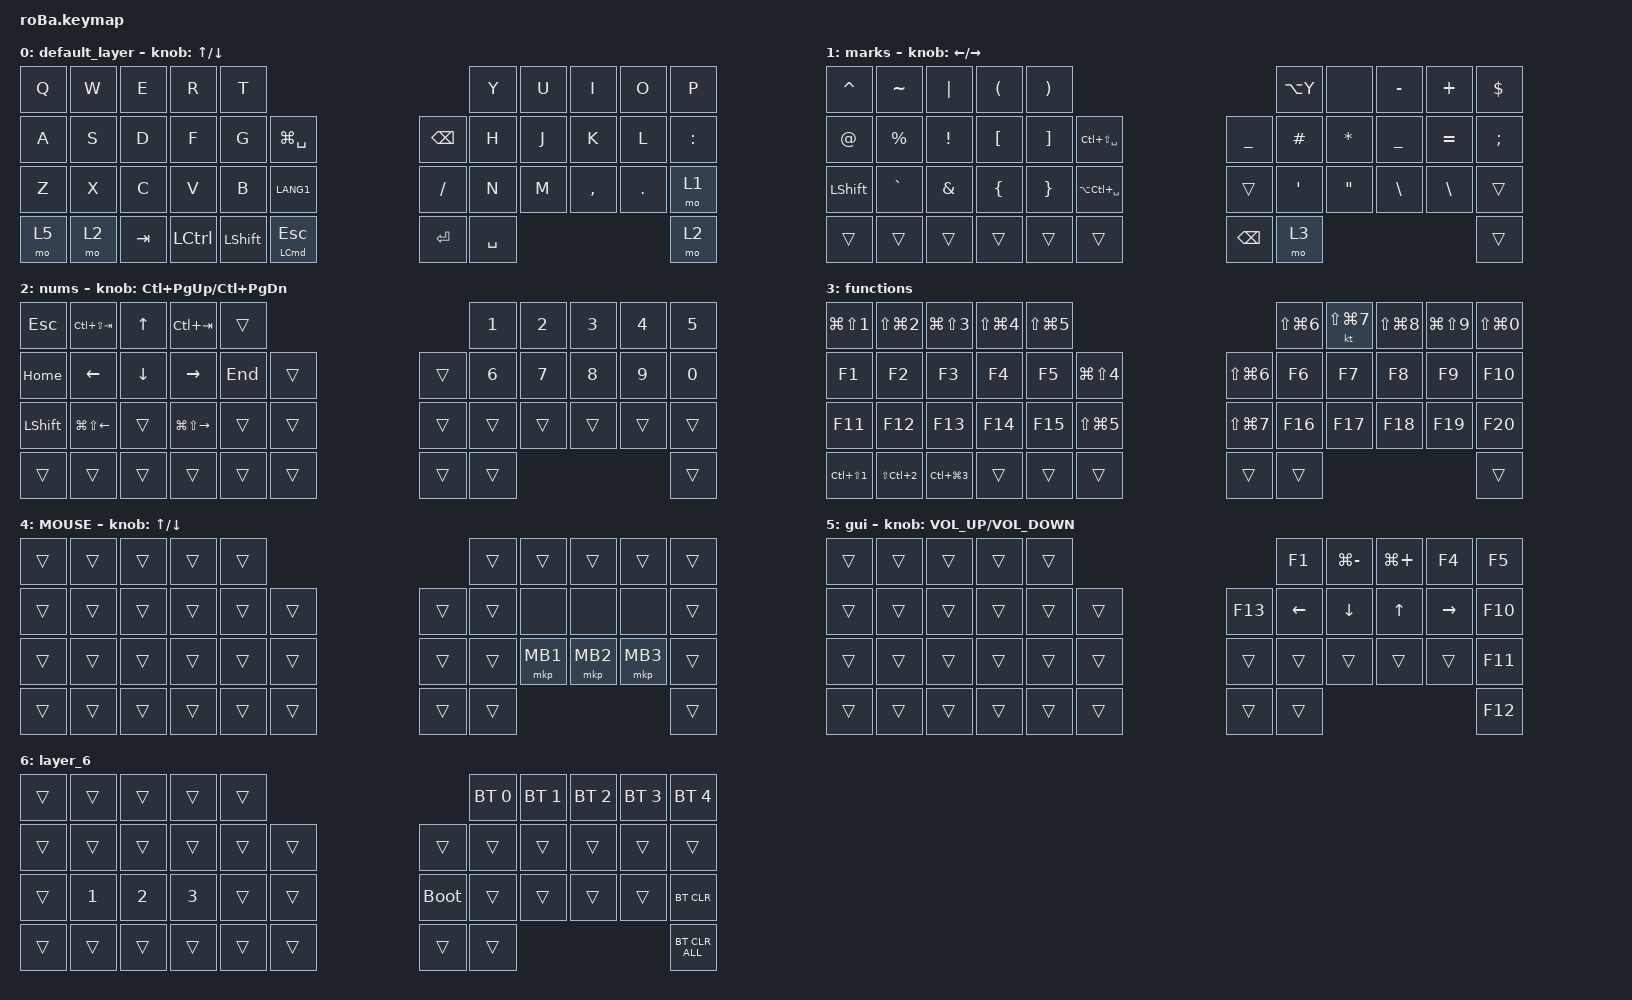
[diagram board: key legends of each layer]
#include <behaviors.dtsi>
#include <dt-bindings/zmk/bt.h>
#include <dt-bindings/zmk/keys.h>
#include <dt-bindings/zmk/pointing.h>

#define MOUSE 4
#define SCROLL 5
#define NUM 6

&mt {
    flavor = "balanced";
    quick-tap-ms = <0>;
};

/ {
    combos {
        compatible = "zmk,combos";

        tab {
            bindings = <&kp TAB>;
            key-positions = <11 12>;
        };

        shift_tab {
            bindings = <&kp LS(TAB)>;
            key-positions = <12 13>;
        };

        muhennkann {
            bindings = <&to_layer_0 INT_MUHENKAN>;
            key-positions = <11 10>;
        };

        double_quotation {
            bindings = <&kp DOUBLE_QUOTES>;
            key-positions = <20 21>;
        };

        eq {
            bindings = <&kp EQUAL>;
            key-positions = <24 25>;
        };
    };

    macros {
        to_layer_0: to_layer_0 {
            compatible = "zmk,behavior-macro-one-param";
            #binding-cells = <1>;
            bindings = <&to 0 &macro_param_1to1 &kp MACRO_PLACEHOLDER>;
            label = "TO_LAYER_0";
        };
    };

    behaviors {
        lt_to_layer_0: lt_to_layer_0 {
            compatible = "zmk,behavior-hold-tap";
            label = "LAYER_TAP_TO_0";
            bindings = <&mo>, <&to_layer_0>;

            #binding-cells = <2>;
            tapping-term-ms = <200>;
        };
    };

    keymap {
        compatible = "zmk,keymap";

        default_layer {
            bindings = <
&kp Q  &kp W  &kp E    &kp R      &kp T                                                       &kp Y      &kp U  &kp I      &kp O    &kp P
&kp A  &kp S  &kp D    &kp F      &kp G           &kp LG(SPACE)                &kp BACKSPACE  &kp H      &kp J  &kp K      &kp L    &kp COLON
&kp Z  &kp X  &kp C    &kp V      &kp B           &kp LANG1                    &kp SLASH      &kp N      &kp M  &kp COMMA  &kp DOT  &mo 1
&mo 5  &mo 2  &kp TAB  &kp LCTRL  &kp LEFT_SHIFT  &mt LEFT_COMMAND ESCAPE      &kp ENTER      &kp SPACE                             &mo 2
            >;

            sensor-bindings = <&inc_dec_kp UP_ARROW DOWN>;
        };

        marks {
            bindings = <
&kp CARET       &kp TILDE    &kp PIPE         &kp LPAR  &kp RPAR                                         &kp LA(Y)         &none              &kp MINUS      &kp PLUS       &kp DOLLAR
&kp AT          &kp PERCENT  &kp EXCLAMATION  &kp LBKT  &kp RBKT  &kp LC(LS(SPACE))      &kp UNDERSCORE  &kp HASH          &kp ASTERISK       &kp UNDER      &kp EQUAL      &kp SEMICOLON
&kp LEFT_SHIFT  &kp GRAVE    &kp AMPS         &kp LBRC  &kp RBRC  &kp LA(LC(SPACE))      &trans          &kp SINGLE_QUOTE  &kp DOUBLE_QUOTES  &kp BACKSLASH  &kp BACKSLASH  &trans
&trans          &trans       &trans           &trans    &trans    &trans                 &kp BACKSPACE   &mo 3                                                              &trans
            >;

            sensor-bindings = <&inc_dec_kp LEFT RIGHT_ARROW>;
        };

        nums {
            bindings = <
&kp ESCAPE      &kp LC(LS(TAB))         &kp UP_ARROW    &kp LC(TAB)              &trans                       &kp NUMBER_1  &kp NUMBER_2  &kp NUMBER_3  &kp NUMBER_4  &kp NUMBER_5
&kp HOME        &kp LEFT_ARROW          &kp DOWN_ARROW  &kp RIGHT_ARROW          &kp END  &trans      &trans  &kp NUMBER_6  &kp NUMBER_7  &kp NUMBER_8  &kp NUMBER_9  &kp NUMBER_0
&kp LEFT_SHIFT  &kp LG(LS(LEFT_ARROW))  &trans          &kp LG(LS(RIGHT_ARROW))  &trans   &trans      &trans  &trans        &trans        &trans        &trans        &trans
&trans          &trans                  &trans          &trans                   &trans   &trans      &trans  &trans                                                  &trans
            >;

            sensor-bindings = <&inc_dec_kp LC(PAGE_UP) LC(PAGE_DOWN)>;
        };

        functions {
            bindings = <
&kp LG(LS(NUMBER_1))  &kp LS(LG(NUMBER_2))  &kp LG(LS(NUMBER_3))  &kp LS(LG(NUMBER_4))  &kp LS(LG(NUMBER_5))                                                  &kp LS(LG(NUMBER_6))  &kt LS(LG(NUMBER_7))  &kp LS(LG(NUMBER_8))  &kp LG(LS(NUMBER_9))  &kp LS(LG(NUMBER_0))
&kp F1                &kp F2                &kp F3                &kp F4                &kp F5                &kp LG(LS(NUMBER_4))      &kp LS(LG(NUMBER_6))  &kp F6                &kp F7                &kp F8                &kp F9                &kp F10
&kp F11               &kp F12               &kp F13               &kp F14               &kp F15               &kp LS(LG(NUMBER_5))      &kp LS(LG(NUMBER_7))  &kp F16               &kp F17               &kp F18               &kp F19               &kp F20
&kp LC(LS(NUMBER_1))  &kp LS(LC(NUMBER_2))  &kp LC(LG(NUMBER_3))  &trans                &trans                &trans                    &trans                &trans                                                                                  &trans
            >;
        };

        MOUSE {
            bindings = <
&trans  &trans  &trans  &trans  &trans                      &trans  &trans    &trans    &trans    &trans
&trans  &trans  &trans  &trans  &trans  &trans      &trans  &trans  &none     &none     &none     &trans
&trans  &trans  &trans  &trans  &trans  &trans      &trans  &trans  &mkp MB1  &mkp MB2  &mkp MB3  &trans
&trans  &trans  &trans  &trans  &trans  &trans      &trans  &trans                                &trans
            >;

            sensor-bindings = <&inc_dec_kp UP_ARROW DOWN>;
        };

        gui {
            bindings = <
&trans  &trans  &trans  &trans  &trans                       &kp F1          &kp LG(MINUS)   &kp LG(PLUS)  &kp F4           &kp F5
&trans  &trans  &trans  &trans  &trans  &trans      &kp F13  &kp LEFT_ARROW  &kp DOWN_ARROW  &kp UP_ARROW  &kp RIGHT_ARROW  &kp F10
&trans  &trans  &trans  &trans  &trans  &trans      &trans   &trans          &trans          &trans        &trans           &kp F11
&trans  &trans  &trans  &trans  &trans  &trans      &trans   &trans                                                         &kp F12
            >;

            sensor-bindings = <&inc_dec_kp C_VOLUME_UP C_VOLUME_DOWN>;
        };

        layer_6 {
            bindings = <
&trans  &trans        &trans        &trans        &trans                           &bt BT_SEL 0  &bt BT_SEL 1  &bt BT_SEL 2  &bt BT_SEL 3  &bt BT_SEL 4
&trans  &trans        &trans        &trans        &trans  &trans      &trans       &trans        &trans        &trans        &trans        &trans
&trans  &kp NUMBER_1  &kp NUMBER_2  &kp NUMBER_3  &trans  &trans      &bootloader  &trans        &trans        &trans        &trans        &bt BT_CLR
&trans  &trans        &trans        &trans        &trans  &trans      &trans       &trans                                                  &bt BT_CLR_ALL
            >;
        };
    };
};

&left_encoder {
    resolution = <2>;  // 値を大きくするとスクロール速度が遅くなります（デフォルトは1）
};
